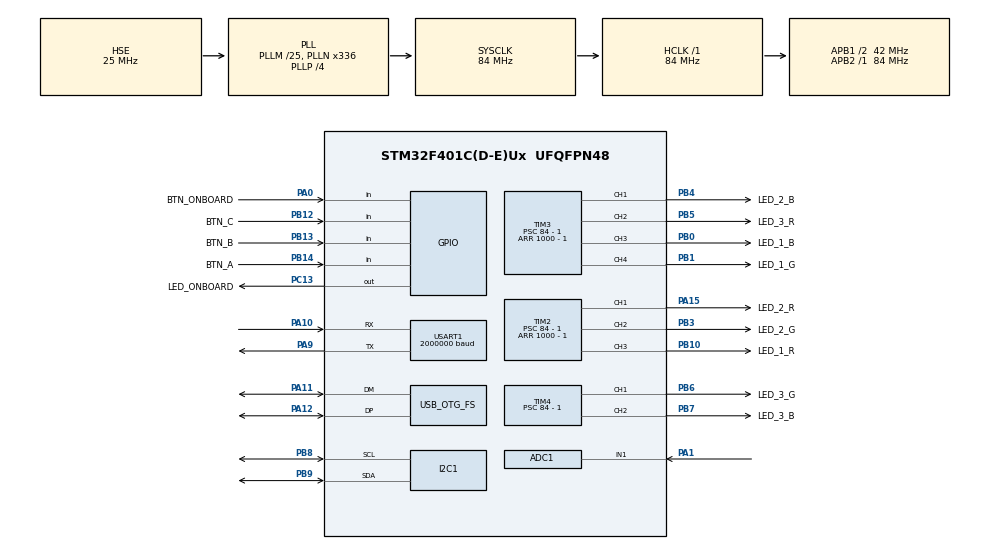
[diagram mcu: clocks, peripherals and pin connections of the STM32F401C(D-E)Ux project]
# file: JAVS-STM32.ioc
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ADC1.Channel-2\#ChannelRegularConversion=ADC_CHANNEL_1
ADC1.ClockPrescaler=ADC_CLOCK_SYNC_PCLK_DIV4
ADC1.ContinuousConvMode=ENABLE
ADC1.DMAContinuousRequests=ENABLE
ADC1.ExternalTrigConv=ADC_SOFTWARE_START
ADC1.NbrOfConversion=1
ADC1.NbrOfConversionFlag=1
ADC1.Rank-2\#ChannelRegularConversion=1
ADC1.SamplingTime-2\#ChannelRegularConversion=ADC_SAMPLETIME_144CYCLES
ADC1.master=1
Dma.ADC1.0.Direction=DMA_PERIPH_TO_MEMORY
Dma.ADC1.0.FIFOMode=DMA_FIFOMODE_DISABLE
Dma.ADC1.0.Instance=DMA2_Stream0
Dma.ADC1.0.MemDataAlignment=DMA_MDATAALIGN_HALFWORD
Dma.ADC1.0.MemInc=DMA_MINC_ENABLE
Dma.ADC1.0.Mode=DMA_CIRCULAR
Dma.ADC1.0.PeriphDataAlignment=DMA_PDATAALIGN_HALFWORD
Dma.ADC1.0.PeriphInc=DMA_PINC_DISABLE
Dma.ADC1.0.Priority=DMA_PRIORITY_HIGH
Dma.Request0=ADC1
Dma.Request1=USART1_TX
Dma.USART1_TX.1.Direction=DMA_MEMORY_TO_PERIPH
Dma.USART1_TX.1.FIFOMode=DMA_FIFOMODE_DISABLE
Dma.USART1_TX.1.Instance=DMA2_Stream7
Dma.USART1_TX.1.MemDataAlignment=DMA_MDATAALIGN_BYTE
Dma.USART1_TX.1.MemInc=DMA_MINC_ENABLE
Dma.USART1_TX.1.Mode=DMA_NORMAL
Dma.USART1_TX.1.PeriphDataAlignment=DMA_PDATAALIGN_BYTE
Dma.USART1_TX.1.PeriphInc=DMA_PINC_DISABLE
Dma.USART1_TX.1.Priority=DMA_PRIORITY_LOW
Mcu.Family=STM32F4
Mcu.Name=STM32F401C(D-E)Ux
Mcu.Package=UFQFPN48
NVIC.DMA2_Stream0_IRQn=true\:0\:0\:false\:false\:true\:false\:true\:true
NVIC.DMA2_Stream7_IRQn=true\:0\:0\:false\:false\:true\:false\:true\:true
NVIC.I2C1_EV_IRQn=true\:0\:0\:false\:false\:true\:true\:true\:true
NVIC.OTG_FS_IRQn=true\:0\:0\:false\:false\:true\:false\:true\:true
NVIC.PriorityGroup=NVIC_PRIORITYGROUP_4
NVIC.TIM1_TRG_COM_TIM11_IRQn=true\:0\:0\:false\:false\:true\:true\:true\:true
NVIC.USART1_IRQn=true\:0\:0\:false\:false\:true\:true\:true\:true
PA0-WKUP.GPIO_Label=BTN_ONBOARD
PA0-WKUP.Signal=GPIO_Input
PA1.Signal=ADCx_IN1
PA10.Mode=Asynchronous
PA10.Signal=USART1_RX
PA11.Mode=Device_Only
PA11.Signal=USB_OTG_FS_DM
PA12.Mode=Device_Only
PA12.Signal=USB_OTG_FS_DP
PA13.Mode=Serial_Wire
PA13.Signal=SYS_JTMS-SWDIO
PA14.Mode=Serial_Wire
PA14.Signal=SYS_JTCK-SWCLK
PA15.GPIO_Label=LED_2_R
PA15.Signal=S_TIM2_CH1_ETR
PA9.Mode=Asynchronous
PA9.Signal=USART1_TX
PB0.GPIO_Label=LED_1_B
PB0.Signal=S_TIM3_CH3
PB1.GPIO_Label=LED_1_G
PB1.Signal=S_TIM3_CH4
PB10.GPIO_Label=LED_1_R
PB10.Signal=S_TIM2_CH3
PB12.GPIO_Label=BTN_C
PB12.GPIO_PuPd=GPIO_PULLUP
PB12.Signal=GPIO_Input
PB13.GPIO_Label=BTN_B
PB13.GPIO_PuPd=GPIO_PULLUP
PB13.Signal=GPIO_Input
PB14.GPIO_Label=BTN_A
PB14.GPIO_PuPd=GPIO_PULLUP
PB14.Signal=GPIO_Input
PB3.GPIO_Label=LED_2_G
PB3.Signal=S_TIM2_CH2
PB4.GPIO_Label=LED_2_B
PB4.Signal=S_TIM3_CH1
PB5.GPIO_Label=LED_3_R
PB5.Signal=S_TIM3_CH2
PB6.GPIO_Label=LED_3_G
PB6.Signal=S_TIM4_CH1
PB7.GPIO_Label=LED_3_B
PB7.Signal=S_TIM4_CH2
PB8.GPIO_Pu=GPIO_NOPULL
PB8.Mode=I2C
PB8.Signal=I2C1_SCL
PB9.GPIO_Pu=GPIO_NOPULL
PB9.Mode=I2C
PB9.Signal=I2C1_SDA
PC13-ANTI_TAMP.GPIO_Label=LED_ONBOARD
PC13-ANTI_TAMP.GPIO_PuPd=GPIO_PULLUP
PC13-ANTI_TAMP.PinState=GPIO_PIN_SET
PC13-ANTI_TAMP.Signal=GPIO_Output
PH0\ -\ OSC_IN.Mode=HSE-External-Oscillator
PH0\ -\ OSC_IN.Signal=RCC_OSC_IN
PH1\ -\ OSC_OUT.Mode=HSE-External-Oscillator
PH1\ -\ OSC_OUT.Signal=RCC_OSC_OUT
ProjectManager.HeapSize=0x200
ProjectManager.StackSize=0x400
ProjectManager.TargetToolchain=STM32CubeIDE
RCC.48MHZClocksFreq_Value=48000000
RCC.AHBFreq_Value=84000000
RCC.APB1CLKDivider=RCC_HCLK_DIV2
RCC.APB1Freq_Value=42000000
RCC.APB1TimFreq_Value=84000000
RCC.APB2Freq_Value=84000000
RCC.APB2TimFreq_Value=84000000
RCC.CortexFreq_Value=84000000
RCC.HCLKFreq_Value=84000000
RCC.HSE_VALUE=25000000
RCC.HSI_VALUE=16000000
RCC.LSE_VALUE=32768
RCC.PLLM=25
RCC.PLLN=336
RCC.PLLP=RCC_PLLP_DIV4
RCC.PLLQ=7
RCC.SYSCLKFreq_VALUE=84000000
RCC.SYSCLKSource=RCC_SYSCLKSOURCE_PLLCLK
RCC.VCOOutputFreq_Value=336000000
SH.ADCx_IN1.0=ADC1_IN1,IN1
SH.S_TIM2_CH1_ETR.0=TIM2_CH1,PWM Generation1 CH1
SH.S_TIM2_CH2.0=TIM2_CH2,PWM Generation2 CH2
SH.S_TIM2_CH3.0=TIM2_CH3,PWM Generation3 CH3
SH.S_TIM3_CH1.0=TIM3_CH1,PWM Generation1 CH1
SH.S_TIM3_CH2.0=TIM3_CH2,PWM Generation2 CH2
SH.S_TIM3_CH3.0=TIM3_CH3,PWM Generation3 CH3
SH.S_TIM3_CH4.0=TIM3_CH4,PWM Generation4 CH4
SH.S_TIM4_CH1.0=TIM4_CH1,PWM Generation1 CH1
SH.S_TIM4_CH2.0=TIM4_CH2,PWM Generation2 CH2
TIM11.Period=100-1
TIM11.Prescaler=840-1
TIM2.Channel-PWM\ Generation1\ CH1=TIM_CHANNEL_1
TIM2.Channel-PWM\ Generation2\ CH2=TIM_CHANNEL_2
TIM2.Channel-PWM\ Generation3\ CH3=TIM_CHANNEL_3
TIM2.ClockDivision=TIM_CLOCKDIVISION_DIV1
TIM2.Period=1000 - 1
TIM2.Prescaler=84 - 1
TIM3.Channel-PWM\ Generation1\ CH1=TIM_CHANNEL_1
TIM3.Channel-PWM\ Generation2\ CH2=TIM_CHANNEL_2
TIM3.Channel-PWM\ Generation3\ CH3=TIM_CHANNEL_3
TIM3.Channel-PWM\ Generation4\ CH4=TIM_CHANNEL_4
TIM3.Period=1000 - 1
TIM3.Prescaler=84 - 1
TIM4.Channel-PWM\ Generation1\ CH1=TIM_CHANNEL_1
TIM4.Channel-PWM\ Generation2\ CH2=TIM_CHANNEL_2
TIM4.Period=1000 - 1
TIM4.Prescaler=84 - 1
USART1.BaudRate=2000000
USART1.VirtualMode=VM_ASYNC
USB_DEVICE.CLASS_NAME_FS=CDC
USB_DEVICE.VirtualMode-CDC_FS=Cdc
USB_DEVICE.VirtualModeFS=Cdc_FS
USB_OTG_FS.VirtualMode=Device_Only
VP_TIM11_VS_ClockSourceINT.Mode=Enable_Timer
VP_TIM2_VS_ClockSourceINT.Mode=Internal
VP_TIM3_VS_ClockSourceINT.Mode=Internal
VP_USB_DEVICE_VS_USB_DEVICE_CDC_FS.Mode=CDC_FS
board=custom

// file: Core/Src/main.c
/* USER CODE BEGIN Header */
/**
 ******************************************************************************
 * @file           : main.c
 * @brief          : Main program body
 ******************************************************************************
 * @attention
 *
 * Copyright (c) 2023 STMicroelectronics.
 * All rights reserved.
 *
 * This software is licensed under terms that can be found in the LICENSE file
 * in the root directory of this software component.
 * If no LICENSE file comes with this software, it is provided AS-IS.
 *
 ******************************************************************************
 */
/* USER CODE END Header */
#include "main.h"
#include "adc.h"
#include "dma.h"
#include "i2c.h"
#include "tim.h"
#include "usart.h"
#include "usb_device.h"
#include "gpio.h"

/* USER CODE BEGIN Includes */

// USB Communication Include
#include "usbd_cdc_if.h"
#include "utils.h"

#include "ffthandler.h"

/* USER CODE END Includes */

/* USER CODE BEGIN PV */

/*
 * USB virtual com port data receiving flags since receive callback cannot be moved out of usbd_cdc_if.c
 */
volatile uint8_t CDCReceiveFlag;
volatile uint32_t CDCReceiveDiscarded;

/*
 * LCD Timeout counter and flag
 */
volatile uint32_t LCD_TimeoutCounter;

/*
 * FFT handler instances
 */
FFTHandler FFT;

/*
 * Double buffer for ADC DMA
 * ADC DMA counters
 */
volatile uint16_t ADC_ReadBuffer[FFT_NUM_SAMPLES * 2];
volatile uint32_t ADC_CallbackCounter;
volatile uint32_t ADC_CallbackResultsSkippedCounter;

/*
 * Button status information
 */
volatile uint8_t ButtonChange_Flag;
volatile uint8_t ButtonStatus_Flag, ButtonStatus;

/* USER CODE END PV */

void SystemClock_Config(void);

int main(void)
{

	/* MCU Configuration--------------------------------------------------------*/

	/* Reset of all peripherals, Initializes the Flash interface and the Systick. */
	HAL_Init();

	/* Configure the system clock */
	SystemClock_Config();

	/* Initialize all configured peripherals */
	MX_GPIO_Init();
	MX_DMA_Init();
	MX_ADC1_Init();
	MX_TIM2_Init();
	MX_TIM3_Init();
	MX_TIM4_Init();
	MX_USB_DEVICE_Init();
	MX_I2C1_Init();
	MX_TIM11_Init();
	MX_USART1_UART_Init();
	/* USER CODE BEGIN 2 */

	/*
	 * USB transmission and receiving
	 */
	USB_TxBuffer[USB_TX_BUFFERSIZE - 1] = 0;
	CDCReceiveFlag = 0;
	CDCReceiveDiscarded = 0;

	/*
	 * init I2C LCD
	 */
	LCD2004_I2C lcd;

	LCD_Init(&lcd, LCD_DEFAULT_ADDR);
	LCD_CursorOff(&lcd);

	HAL_Delay(2000);
	LCD_Clear(&lcd);

	/*
	 * Init LED menu and LED strip handling
	 */
	LEDMenu_Init(&lcd);
	LEDStrips_Init();

	/*
	 * Init FFT handler
	 */
	FFTHandler_Init(&FFT);

	/*
	 * ADC DMA init
	 */
	ADC_CallbackCounter = 0;
	uint32_t adcCallbackCounterOld = 0;
	ADC_CallbackResultsSkippedCounter = 0;
	uint32_t adcCallbackResultsSkippedCounterOld = 0;

	HAL_ADC_Start_DMA(&hadc1, (uint32_t*) ADC_ReadBuffer, FFT_NUM_SAMPLES * 2);

	/*
	 * Flags and counters for timed actions via TIM11
	 */
	ButtonChange_Flag = 0;
	ButtonStatus = 0xFF;
	ButtonStatus_Flag = 0;

	LCD_TimeoutCounter = 0; // this will be incremented every 1 ms; check in loop if lcd kathode off or on

	HAL_TIM_Base_Start_IT(&htim11);

	// main loop local variables

	/*
	 * Timing counters for main loop
	 */
	uint32_t timerLast = HAL_GetTick(), timerNow;

	/* USER CODE END 2 */

	/* Infinite loop */
	while (1)
	{

		/* USER CODE BEGIN 3 */

		/*
		 * Handle USB CDC commands / data
		 */

		if (CDCReceiveFlag)
		{
			if (strncmp((const char*) USB_RxBuffer, "sendfft", 7) == 0)
			{
				FFT.FFTPrintDebugOnceFlag = 1;
			}

			CDCReceiveFlag = 0;
		}

		/*
		 * let handler process new adc readings if available
		 */
		FFTHandler_ProcessData(&FFT, (uint16_t*) ADC_ReadBuffer);

		/*
		 * check if afk -> turn off lcd to reduce power consumption
		 */
		if (LCD_TimeoutCounter >= LCD_TIMEOUT && lcd.lcd_backlight == LCD_BACKLIGHT_ON)
		{
			LCD_BacklightOff(&lcd);
		}

		/*
		 * Handle Button events
		 */
		if (ButtonChange_Flag)
		{
			// if lcd is on, use btn events as menu input
			// else, wake up lcd
			if (lcd.lcd_backlight == LCD_BACKLIGHT_ON)
			{
				if (ButtonStatus_Flag & (1 << BTN_A_FLAG))
				{
					ButtonStatus_Flag &= ~(1 << BTN_A_FLAG);

					// btn back
					LEDMenu_UpdateState(LEDMENU_BTN_BACK, &lcd);
				}

				if (ButtonStatus_Flag & (1 << BTN_B_FLAG))
				{
					ButtonStatus_Flag &= ~(1 << BTN_B_FLAG);

					// btn select
					LEDMenu_UpdateState(LEDMENU_BTN_SELECT, &lcd);
				}

				if (ButtonStatus_Flag & (1 << BTN_C_FLAG))
				{
					ButtonStatus_Flag &= ~(1 << BTN_C_FLAG);

					// btn next item
					LEDMenu_UpdateState(LEDMENU_BTN_NEXTITEM, &lcd);
				}

				if (LEDMenu_StatusFlags & LEDMENU_FLAG_STATECHANGE)
				{
					LEDMenu_StatusFlags &= ~LEDMENU_FLAG_STATECHANGE;
				}
			}
			else
			{
				// backlight is off -> turn it on
				LCD_BacklightOn(&lcd);
				ButtonStatus_Flag = 0;
			}

			LCD_TimeoutCounter = 0;

			ButtonChange_Flag &= ~BTN_EVENT_FLAG;
		}

		/*
		 * debugging output via usb virtual com port
		 */
		timerNow = HAL_GetTick();
		if (timerNow - timerLast >= 1000)
		{
			if ((ADC_CallbackResultsSkippedCounter - adcCallbackResultsSkippedCounterOld) != 0)
			{
				sprintf(USB_TxBuffer, "FFT can't keep up! Skipped %lu ADC reads (%lu total).\r\n", ADC_CallbackResultsSkippedCounter - adcCallbackResultsSkippedCounterOld, ADC_CallbackResultsSkippedCounter);
				USB_PrintDebug(USB_TxBuffer);

				adcCallbackResultsSkippedCounterOld = ADC_CallbackResultsSkippedCounter;
			}

			sprintf(USB_TxBuffer, "1/s: FFT = %lu, ADC = %lu (%u %u), UART = %lu (%lu)\r\n", FFT.fftTransformsCompleted - FFT.fftTransformsCompletedOld, ADC_CallbackCounter - adcCallbackCounterOld, FFT.ADC_ReadMin, FFT.ADC_ReadMax, FFT.uartTxStarted - FFT.uartTxStartedOld, FFT.uartTxMissed - FFT.uartTxMissedOld);
			USB_PrintDebug(USB_TxBuffer);

			adcCallbackCounterOld = ADC_CallbackCounter;
			FFT.fftTransformsCompletedOld = FFT.fftTransformsCompleted;
			FFT.uartTxStartedOld = FFT.uartTxStarted;
			FFT.uartTxMissedOld = FFT.uartTxMissed;

			timerLast = timerNow;
		}

	}
	/* USER CODE END 3 */
}

void SystemClock_Config(void)
{
	RCC_OscInitTypeDef RCC_OscInitStruct = { 0 };
	RCC_ClkInitTypeDef RCC_ClkInitStruct = { 0 };

	/** Configure the main internal regulator output voltage
	 */
	__HAL_RCC_PWR_CLK_ENABLE();
	__HAL_PWR_VOLTAGESCALING_CONFIG(PWR_REGULATOR_VOLTAGE_SCALE2);

	/** Initializes the RCC Oscillators according to the specified parameters
	 * in the RCC_OscInitTypeDef structure.
	 */
	RCC_OscInitStruct.OscillatorType = RCC_OSCILLATORTYPE_HSE;
	RCC_OscInitStruct.HSEState = RCC_HSE_ON;
	RCC_OscInitStruct.PLL.PLLState = RCC_PLL_ON;
	RCC_OscInitStruct.PLL.PLLSource = RCC_PLLSOURCE_HSE;
	RCC_OscInitStruct.PLL.PLLM = 25;
	RCC_OscInitStruct.PLL.PLLN = 336;
	RCC_OscInitStruct.PLL.PLLP = RCC_PLLP_DIV4;
	RCC_OscInitStruct.PLL.PLLQ = 7;
	if (HAL_RCC_OscConfig(&RCC_OscInitStruct) != HAL_OK)
	{
		Error_Handler();
	}

	/** Initializes the CPU, AHB and APB buses clocks
	 */
	RCC_ClkInitStruct.ClockType = RCC_CLOCKTYPE_HCLK | RCC_CLOCKTYPE_SYSCLK | RCC_CLOCKTYPE_PCLK1 | RCC_CLOCKTYPE_PCLK2;
	RCC_ClkInitStruct.SYSCLKSource = RCC_SYSCLKSOURCE_PLLCLK;
	RCC_ClkInitStruct.AHBCLKDivider = RCC_SYSCLK_DIV1;
	RCC_ClkInitStruct.APB1CLKDivider = RCC_HCLK_DIV2;
	RCC_ClkInitStruct.APB2CLKDivider = RCC_HCLK_DIV1;

	if (HAL_RCC_ClockConfig(&RCC_ClkInitStruct, FLASH_LATENCY_2) != HAL_OK)
	{
		Error_Handler();
	}
}

/* USER CODE BEGIN 4 */

// IRQ
/*
 * IRQ for TIM11
 * used for button polling
 */
void IRQ_TIM11()
{
	/*
	 * This IRQ is called every 1ms
	 * Use for counters etc
	 */

	LCD_TimeoutCounter++;

	static uint32_t counterButtons = 0;

	counterButtons++;
	if (counterButtons >= 20)
	{
		uint8_t ButtonRead_A = HAL_GPIO_ReadPin(BTN_A_GPIO_Port, BTN_A_Pin) == GPIO_PIN_SET ? 1 : 0;
		if (ButtonRead_A == 1 && (ButtonStatus & (1 << BTN_A_FLAG)) == 0)
		{
			ButtonStatus |= (1 << BTN_A_FLAG);
		}
		else if (ButtonRead_A == 0 && (ButtonStatus & (1 << BTN_A_FLAG)) != 0)
		{
			ButtonStatus &= ~(1 << BTN_A_FLAG);
			ButtonStatus_Flag |= (1 << BTN_A_FLAG);
			ButtonChange_Flag |= BTN_EVENT_FLAG;
		}

		uint8_t ButtonRead_B = HAL_GPIO_ReadPin(BTN_B_GPIO_Port, BTN_B_Pin) == GPIO_PIN_SET ? 1 : 0;
		if (ButtonRead_B == 1 && (ButtonStatus & (1 << BTN_B_FLAG)) == 0)
		{
			ButtonStatus |= (1 << BTN_B_FLAG);
		}
		else if (ButtonRead_B == 0 && (ButtonStatus & (1 << BTN_B_FLAG)) != 0)
		{
			ButtonStatus &= ~(1 << BTN_B_FLAG);
			ButtonStatus_Flag |= (1 << BTN_B_FLAG);
			ButtonChange_Flag |= BTN_EVENT_FLAG;
		}

		uint8_t ButtonRead_C = HAL_GPIO_ReadPin(BTN_C_GPIO_Port, BTN_C_Pin) == GPIO_PIN_SET ? 1 : 0;
		if (ButtonRead_C == 1 && (ButtonStatus & (1 << BTN_C_FLAG)) == 0)
		{
			ButtonStatus |= (1 << BTN_C_FLAG);
		}
		else if (ButtonRead_C == 0 && (ButtonStatus & (1 << BTN_C_FLAG)) != 0)
		{
			ButtonStatus &= ~(1 << BTN_C_FLAG);
			ButtonStatus_Flag |= (1 << BTN_C_FLAG);
			ButtonChange_Flag |= BTN_EVENT_FLAG;
		}

		counterButtons = 0;
	}
}

// ADC interrupts

void HAL_ADC_ConvCpltCallback(ADC_HandleTypeDef *hadc)
{
	if (hadc == &hadc1)
	{
		ADC_CallbackCounter++;
		if (FFT.FFT_CallbackFlag != FFT_NODATA)
			ADC_CallbackResultsSkippedCounter++;
		FFT.FFT_CallbackFlag = FFT_CALLBACK_FULL;
	}
}

void HAL_ADC_ConvHalfCpltCallback(ADC_HandleTypeDef *hadc)
{
	if (hadc == &hadc1)
	{
		ADC_CallbackCounter++;
		if (FFT.FFT_CallbackFlag != FFT_NODATA)
			ADC_CallbackResultsSkippedCounter++;
		FFT.FFT_CallbackFlag = FFT_CALLBACK_HALF;
	}
}

// IRQ end

// Reset all button flags

void Buttons_ResetFlags()
{
	ButtonChange_Flag = 0;
	ButtonStatus_Flag = 0;
}

/* USER CODE END 4 */

void Error_Handler(void)
{
	__disable_irq();
	while (1)
	{
	}
}
